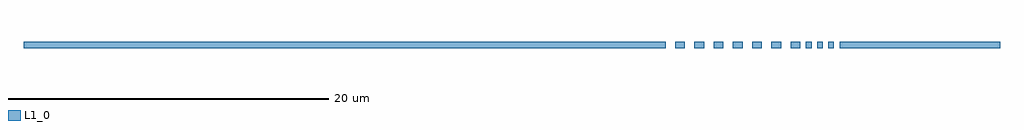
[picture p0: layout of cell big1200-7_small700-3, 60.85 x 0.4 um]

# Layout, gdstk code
import gdstk
lib = gdstk.Library(unit=1e-6, precision=1e-09)
def R(c, l, rs):  # rectangles x0, y0, x1, y1
    for r in rs: c.add(gdstk.rectangle(r[:2], r[2:], *l))
def A(c, l, x, y, w, h, nx, ny, dx, dy):  # array of equal rectangles
    R(c, l, [(x+i*dx, y+j*dy, x+i*dx+w, y+j*dy+h) for i in range(nx) for j in range(ny)])
L1_0 = (1, 0)

big1200_7_small700_3 = lib.new_cell('big1200-7_small700-3')
A(big1200_7_small700_3, L1_0, 0.6, 0, 0.6, 0.4, 7, 1, 1.2, 0)
A(big1200_7_small700_3, L1_0, 8.75, 0, 0.35, 0.4, 3, 1, 0.7, 0)
R(big1200_7_small700_3, L1_0, [(-40,0,0,0.4), (10.85,0,20.85,0.4)])

lib.write_gds('big1200-7_small700-3.gds')
